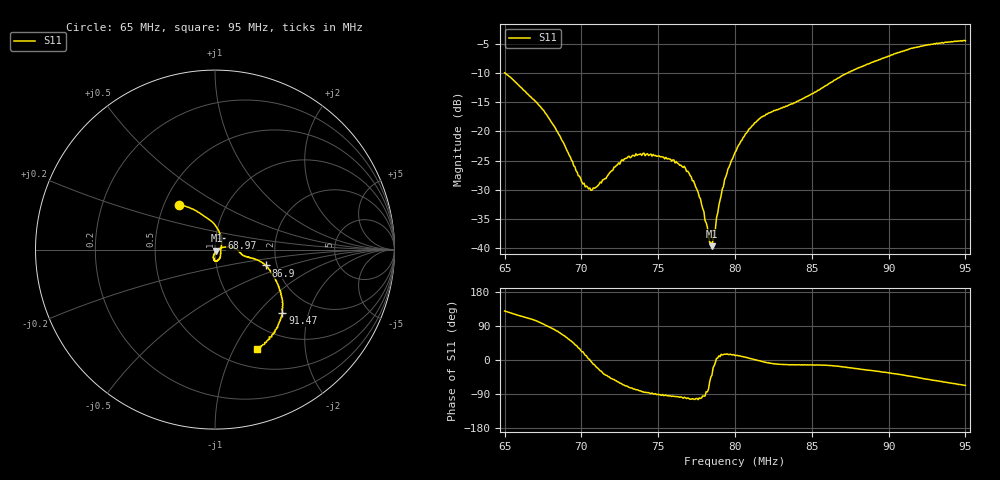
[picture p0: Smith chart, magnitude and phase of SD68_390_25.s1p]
! NanoVNA-App
! Date: 2025-08-02 15:57:16
! Start: 65MHz Stop: 95MHz Points: 401
! S-Parameter data: F S11
# Hz S RI R 50
!  Frequency  S11_Real  S11_Imag
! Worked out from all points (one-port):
!   401 points, 65 MHz to 95 MHz, reference 50 ohm
!   lowest |S11| = -39.7 dB at 78.5 MHz (marker M1), VSWR 1.02, Z = 50.8 - j0.675 ohm
!   |S11| at or under -10 dB: 65.03 MHz to 87.3 MHz (22.27 MHz wide, 29.2 % of centre)
!   S11 on the Smith chart (normalised r, x): 65 MHz: 0.60, +0.33; 68.97 MHz: 1.06, +0.14; 86.9 MHz: 1.75, -0.34; 91.47 MHz: 1.42, -1.38; 95 MHz: 0.72, -1.24
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6.5e7  -0.2016 0.2463
6.74e7  -0.0193 0.1576
6.875e7  0.0318 0.0769
6.8975e7  0.0354 0.0639
6.995e7  0.0356 0.0171
7.055e7  0.0327 0.000245
7.1e7  0.0316 -0.0113
7.25e7  0.0254 -0.0458
7.295e7  0.0218 -0.0548
7.415e7  0.0056 -0.0617
7.625e7  -0.00623 -0.0531
7.685e7  -0.00931 -0.0444
7.745e7  -0.00676 -0.0325
7.7825e7  -0.00413 -0.0233
7.835e7  0.00595 -0.0094
7.85e7  0.00797 -0.00664
7.865e7  0.0133 -0.00345
7.895e7  0.0228 0.00446
7.9325e7  0.0374 0.0102
8e7  0.0645 0.0134
8.075e7  0.0964 0.0107
8.1575e7  0.1281 -0.0038
8.375e7  0.1682 -0.0373
8.69e7  0.2836 -0.0885
8.75e7  0.3037 -0.1134
9.125e7  0.3761 -0.3346
9.1475e7  0.3756 -0.3553
9.5e7  0.2337 -0.5526
